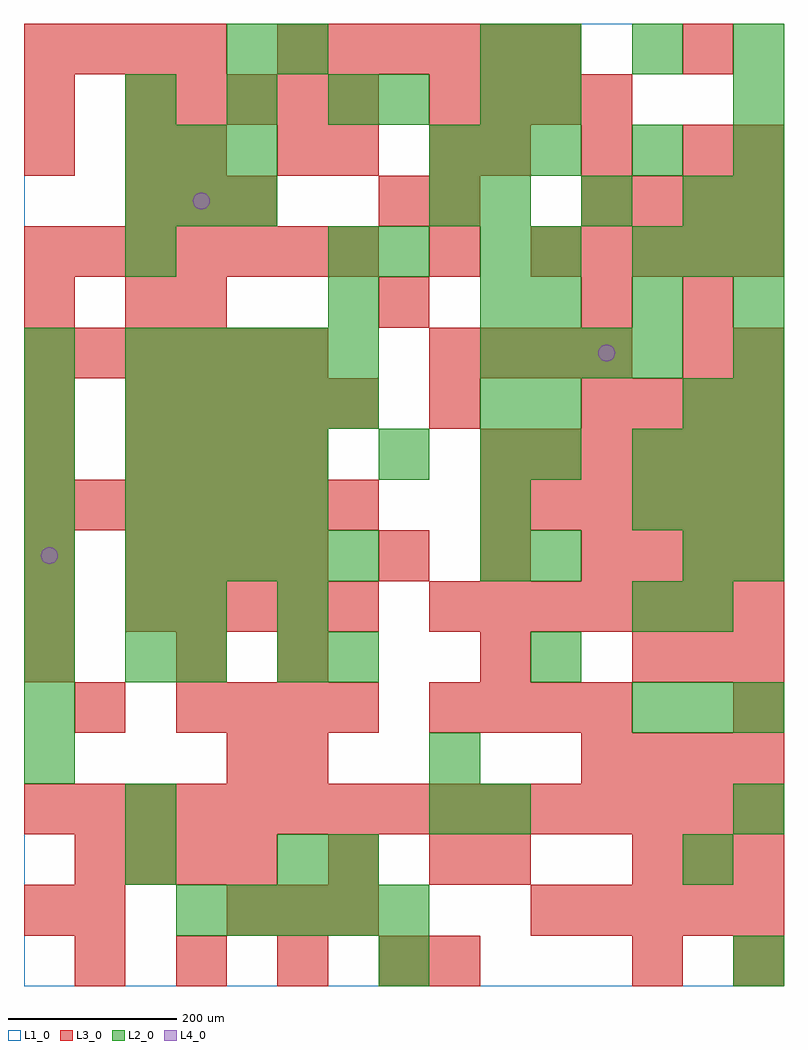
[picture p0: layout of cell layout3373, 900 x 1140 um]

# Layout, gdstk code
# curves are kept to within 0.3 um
import gdstk
lib = gdstk.Library(unit=1e-6, precision=1e-09)
def R(c, l, rs):  # rectangles x0, y0, x1, y1
    for r in rs: c.add(gdstk.rectangle(r[:2], r[2:], *l))
def A(c, l, x, y, w, h, nx, ny, dx, dy):  # array of equal rectangles
    R(c, l, [(x+i*dx, y+j*dy, x+i*dx+w, y+j*dy+h) for i in range(nx) for j in range(ny)])
def P(c, l, *ps):  # polygons
    for p in ps: c.add(gdstk.Polygon(p, *l))
L1_0 = (1, 0)
L2_0 = (2, 0)
L3_0 = (3, 0)
L4_0 = (4, 0)

layout3373 = lib.new_cell('layout3373')
R(layout3373, L1_0, [(0,0,900,1140)])
A(layout3373, L2_0, 180, 60, 60, 60, 5, 1, 60, 0)
A(layout3373, L2_0, 0, 240, 60, 60, 1, 9, 0, 60)
A(layout3373, L2_0, 720, 300, 60, 60, 3, 2, 60, 240)
A(layout3373, L2_0, 600, 360, 60, 60, 1, 3, 0, 120)
A(layout3373, L2_0, 120, 480, 60, 60, 5, 2, 60, 180)
A(layout3373, L2_0, 540, 480, 60, 60, 1, 4, 0, 60)
A(layout3373, L2_0, 120, 540, 60, 60, 4, 2, 60, 60)
A(layout3373, L2_0, 720, 600, 60, 60, 3, 2, 60, 240)
A(layout3373, L2_0, 600, 660, 60, 60, 1, 3, 0, 180)
A(layout3373, L2_0, 120, 720, 60, 60, 5, 1, 60, 0)
A(layout3373, L2_0, 540, 720, 60, 60, 4, 1, 60, 0)
A(layout3373, L2_0, 600, 780, 60, 60, 3, 2, 120, 300)
A(layout3373, L2_0, 120, 900, 60, 60, 3, 2, 60, 60)
A(layout3373, L2_0, 540, 900, 60, 60, 3, 1, 120, 0)
A(layout3373, L2_0, 840, 900, 60, 60, 1, 3, 0, 60)
A(layout3373, L2_0, 480, 960, 60, 60, 3, 1, 60, 0)
A(layout3373, L2_0, 120, 1020, 60, 60, 3, 1, 120, 0)
R(layout3373, L2_0, [(420,0,480,60), (840,0,900,60), (120,120,180,180), (300,120,360,180), (360,120,420,180), (780,120,840,180), (120,180,180,240), (480,180,540,240), (540,180,600,240), (840,180,900,240), (480,240,540,300), (120,360,180,420), (180,360,240,420), (300,360,360,420), (360,360,420,420), (120,420,180,480), (180,420,240,480), (300,420,360,480), (720,420,780,480), (780,420,840,480), (780,480,840,540), (840,480,900,540), (420,600,480,660), (780,660,840,720), (840,660,900,720), (840,720,900,780), (360,780,420,840), (540,780,600,840), (120,840,180,900), (360,840,420,900), (420,840,480,900), (540,840,600,900), (480,900,540,960), (720,960,780,1020), (420,1020,480,1080), (540,1020,600,1080), (240,1080,300,1140), (300,1080,360,1140), (540,1080,600,1140)])
A(layout3373, L3_0, 60, 0, 60, 60, 4, 1, 120, 0)
A(layout3373, L3_0, 240, 60, 60, 60, 3, 1, 60, 0)
A(layout3373, L3_0, 600, 60, 60, 60, 5, 2, 60, 780)
A(layout3373, L3_0, 60, 120, 60, 60, 4, 1, 60, 0)
A(layout3373, L3_0, 720, 120, 60, 60, 3, 2, 60, 240)
A(layout3373, L3_0, 0, 180, 60, 60, 15, 1, 60, 0)
A(layout3373, L3_0, 660, 240, 60, 60, 4, 2, 60, 420)
A(layout3373, L3_0, 180, 300, 60, 60, 4, 1, 60, 0)
A(layout3373, L3_0, 480, 300, 60, 60, 4, 2, 60, 420)
A(layout3373, L3_0, 0, 360, 60, 60, 1, 3, 0, 60)
A(layout3373, L3_0, 120, 420, 60, 60, 5, 2, 60, 240)
A(layout3373, L3_0, 480, 420, 60, 60, 7, 1, 60, 0)
A(layout3373, L3_0, 120, 480, 60, 60, 4, 2, 60, 120)
A(layout3373, L3_0, 420, 480, 60, 60, 3, 1, 120, 0)
A(layout3373, L3_0, 720, 480, 60, 60, 3, 1, 60, 0)
A(layout3373, L3_0, 0, 540, 60, 60, 7, 2, 60, 300)
A(layout3373, L3_0, 540, 540, 60, 60, 6, 2, 60, 60)
A(layout3373, L3_0, 0, 720, 60, 60, 6, 1, 60, 0)
A(layout3373, L3_0, 180, 780, 60, 60, 3, 1, 240, 0)
A(layout3373, L3_0, 480, 840, 60, 60, 1, 3, 0, 60)
A(layout3373, L3_0, 120, 900, 60, 60, 3, 1, 60, 0)
A(layout3373, L3_0, 660, 900, 60, 60, 4, 1, 60, 0)
A(layout3373, L3_0, 540, 960, 60, 60, 3, 1, 120, 0)
A(layout3373, L3_0, 120, 1020, 60, 60, 5, 1, 60, 0)
A(layout3373, L3_0, 480, 1020, 60, 60, 4, 1, 60, 0)
A(layout3373, L3_0, 0, 1080, 60, 60, 4, 1, 60, 0)
A(layout3373, L3_0, 300, 1080, 60, 60, 6, 1, 60, 0)
R(layout3373, L3_0, [(480,0,540,60), (720,0,780,60), (840,0,900,60), (0,60,60,120), (60,60,120,120), (360,120,420,180), (480,120,540,180), (540,120,600,180), (240,240,300,300), (300,240,360,300), (60,300,120,360), (840,300,900,360), (180,360,240,420), (300,360,360,420), (540,360,600,420), (0,600,60,660), (0,660,60,720), (480,660,540,720), (780,720,840,780), (840,720,900,780), (0,780,60,840), (120,780,180,840), (780,780,840,840), (420,900,480,960), (0,960,60,1020), (120,960,180,1020), (180,960,240,1020), (300,960,360,1020), (360,960,420,1020), (840,960,900,1020), (0,1020,60,1080), (780,1080,840,1140)])
P(layout3373, L4_0, [(40,510),(39.239,513.827),(37.071,517.071),(33.827,519.239),(30,520),(26.173,519.239),(22.929,517.071),(20.761,513.827),(20,510),(20.761,506.173),(22.929,502.929),(26.173,500.761),(30,500),(33.827,500.761),(37.071,502.929),(39.239,506.173)],
  [(220,930),(219.239,933.827),(217.071,937.071),(213.827,939.239),(210,940),(206.173,939.239),(202.929,937.071),(200.761,933.827),(200,930),(200.761,926.173),(202.929,922.929),(206.173,920.761),(210,920),(213.827,920.761),(217.071,922.929),(219.239,926.173)],
  [(700,750),(699.239,753.827),(697.071,757.071),(693.827,759.239),(690,760),(686.173,759.239),(682.929,757.071),(680.761,753.827),(680,750),(680.761,746.173),(682.929,742.929),(686.173,740.761),(690,740),(693.827,740.761),(697.071,742.929),(699.239,746.173)])

lib.write_gds('layout3373.gds')
